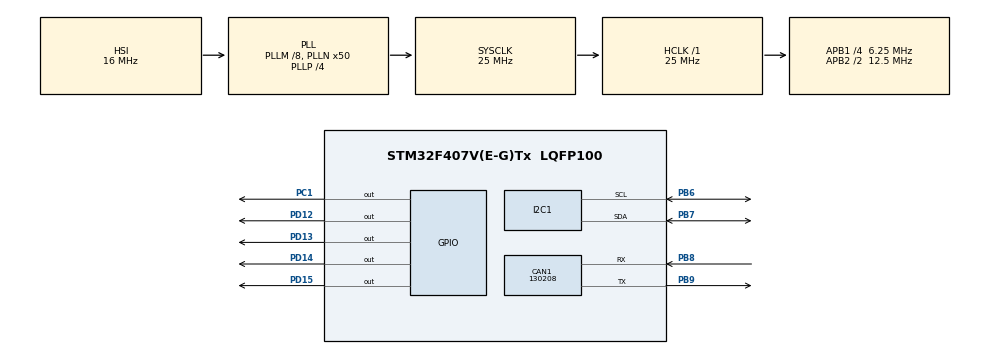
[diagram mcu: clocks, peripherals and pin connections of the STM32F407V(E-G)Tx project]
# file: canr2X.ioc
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CAN1.CalculateBaudRate=130208
CAN1.CalculateTimeBit=7680
CAN1.CalculateTimeQuantum=2560.0
Mcu.Family=STM32F4
Mcu.Name=STM32F407V(E-G)Tx
Mcu.Package=LQFP100
NVIC.PriorityGroup=NVIC_PRIORITYGROUP_0
PB6.Mode=I2C
PB6.Signal=I2C1_SCL
PB7.Mode=I2C
PB7.Signal=I2C1_SDA
PB8.Mode=CAN_Activate
PB8.Signal=CAN1_RX
PB9.Mode=CAN_Activate
PB9.Signal=CAN1_TX
PC1.Signal=GPIO_Output
PD12.Signal=GPIO_Output
PD13.Signal=GPIO_Output
PD14.Signal=GPIO_Output
PD15.Signal=GPIO_Output
ProjectManager.HeapSize=0x200
ProjectManager.StackSize=0x400
ProjectManager.TargetToolchain=STM32CubeIDE
RCC.48MHZClocksFreq_Value=14285714.285714285
RCC.AHBFreq_Value=25000000
RCC.APB1CLKDivider=RCC_HCLK_DIV4
RCC.APB1Freq_Value=6250000
RCC.APB1TimFreq_Value=12500000
RCC.APB2CLKDivider=RCC_HCLK_DIV2
RCC.APB2Freq_Value=12500000
RCC.APB2TimFreq_Value=25000000
RCC.CortexFreq_Value=25000000
RCC.HCLKFreq_Value=25000000
RCC.HSE_VALUE=8000000
RCC.HSI_VALUE=16000000
RCC.LSE_VALUE=32768
RCC.PLLM=8
RCC.PLLN=50
RCC.PLLP=RCC_PLLP_DIV4
RCC.PLLQ=7
RCC.SYSCLKFreq_VALUE=25000000
RCC.SYSCLKSource=RCC_SYSCLKSOURCE_PLLCLK
RCC.VCOOutputFreq_Value=100000000
board=STM32F407G-DISC1

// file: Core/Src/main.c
/* USER CODE BEGIN Header */
/**
  ******************************************************************************
  * @file           : main.c
  * @brief          : Main program body
  ******************************************************************************
  * @attention
  *
  * Copyright (c) 2024 STMicroelectronics.
  * All rights reserved.
  *
  * This software is licensed under terms that can be found in the LICENSE file
  * in the root directory of this software component.
  * If no LICENSE file comes with this software, it is provided AS-IS.
  *
  ******************************************************************************
  */
/* USER CODE END Header */
#include "main.h"

CAN_HandleTypeDef hcan1;

I2C_HandleTypeDef hi2c1;

void SystemClock_Config(void);
static void MX_GPIO_Init(void);
static void MX_CAN1_Init(void);
static void MX_I2C1_Init(void);

/* USER CODE BEGIN 0 */
CAN_RxHeaderTypeDef RxHeader;
uint8_t RxData[5];

/* USER CODE END 0 */

int main(void)
{

  /* MCU Configuration--------------------------------------------------------*/

  /* Reset of all peripherals, Initializes the Flash interface and the Systick. */
  HAL_Init();

  /* Configure the system clock */
  SystemClock_Config();

  /* Initialize all configured peripherals */
  MX_GPIO_Init();
  MX_CAN1_Init();
  MX_I2C1_Init();
  /* USER CODE BEGIN 2 */
  HAL_CAN_Start(&hcan1);
    HAL_CAN_ActivateNotification(&hcan1, CAN_IT_RX_FIFO0_MSG_PENDING);
    HAL_Delay(100);
    HAL_Delay(100);
    lcd_init();

  /* USER CODE END 2 */

  /* Infinite loop */
  while (1)
  {

    /* USER CODE BEGIN 3 */
	  if(RxData[0] == 'F'){
	  		  		  HAL_GPIO_WritePin(GPIOD, GPIO_PIN_12, GPIO_PIN_SET);
	  		  		  HAL_GPIO_WritePin(GPIOC, GPIO_PIN_1, GPIO_PIN_SET);
	  	//	  		  HAL_Delay(100);
	  	//	  		  HAL_GPIO_WritePin(GPIOD, GPIO_PIN_12, GPIO_PIN_RESET);

	  		  	  }
	  		  	if(RxData[0] == 'N'){
	  		  		  		  HAL_GPIO_WritePin(GPIOD, GPIO_PIN_12, GPIO_PIN_RESET);
	  		  		      	  HAL_GPIO_WritePin(GPIOC, GPIO_PIN_1, GPIO_PIN_SET);
	  		  	//	  		  HAL_Delay(100);
	  		  	//	  		  HAL_GPIO_WritePin(GPIOD, GPIO_PIN_12, GPIO_PIN_RESET);

	  		  	}

	  		  	  if(RxData[1] == 'G'){
	  		  		  HAL_GPIO_WritePin(GPIOD, GPIO_PIN_13, GPIO_PIN_SET);
	  		  		  HAL_GPIO_WritePin(GPIOC, GPIO_PIN_1, GPIO_PIN_SET);
	  	//	  		  HAL_Delay(100);
	  	//	  		  HAL_GPIO_WritePin(GPIOD, GPIO_PIN_13, GPIO_PIN_RESET);
	  		  	  }
	  		  	if(RxData[1] == 'N'){
	  		  		  		  		  HAL_GPIO_WritePin(GPIOD, GPIO_PIN_13, GPIO_PIN_RESET);	//yellow
	  		  		  		  		  HAL_GPIO_WritePin(GPIOC, GPIO_PIN_1, GPIO_PIN_SET);
	  		  		  	//	  		  HAL_GPIO_WritePin(GPIOD, GPIO_PIN_12, GPIO_PIN_RESET);

	  		  		  	}

	  		  	  if(RxData[2] == 'T'){
	  		  		  HAL_GPIO_WritePin(GPIOD, GPIO_PIN_14, GPIO_PIN_SET);	//red
	  		  		  HAL_GPIO_WritePin(GPIOC, GPIO_PIN_1, GPIO_PIN_SET);
	  	//	  		  HAL_GPIO_WritePin(GPIOD, GPIO_PIN_14, GPIO_PIN_RESET);

	  		  	  }

	  		  	if(RxData[2] == 'N'){
	  		  		  		  		  HAL_GPIO_WritePin(GPIOD, GPIO_PIN_14, GPIO_PIN_RESET);	//yellow
	  		  		  	 		       HAL_GPIO_WritePin(GPIOC, GPIO_PIN_1, GPIO_PIN_SET);
	  		  		  	//	  		  HAL_GPIO_WritePin(GPIOD, GPIO_PIN_12, GPIO_PIN_RESET);

	  		  		  	}

  }
  /* USER CODE END 3 */
}

void SystemClock_Config(void)
{
  RCC_OscInitTypeDef RCC_OscInitStruct = {0};
  RCC_ClkInitTypeDef RCC_ClkInitStruct = {0};

  /** Configure the main internal regulator output voltage
  */
  __HAL_RCC_PWR_CLK_ENABLE();
  __HAL_PWR_VOLTAGESCALING_CONFIG(PWR_REGULATOR_VOLTAGE_SCALE1);

  /** Initializes the RCC Oscillators according to the specified parameters
  * in the RCC_OscInitTypeDef structure.
  */
  RCC_OscInitStruct.OscillatorType = RCC_OSCILLATORTYPE_HSI;
  RCC_OscInitStruct.HSIState = RCC_HSI_ON;
  RCC_OscInitStruct.HSICalibrationValue = RCC_HSICALIBRATION_DEFAULT;
  RCC_OscInitStruct.PLL.PLLState = RCC_PLL_ON;
  RCC_OscInitStruct.PLL.PLLSource = RCC_PLLSOURCE_HSI;
  RCC_OscInitStruct.PLL.PLLM = 8;
  RCC_OscInitStruct.PLL.PLLN = 50;
  RCC_OscInitStruct.PLL.PLLP = RCC_PLLP_DIV4;
  RCC_OscInitStruct.PLL.PLLQ = 7;
  if (HAL_RCC_OscConfig(&RCC_OscInitStruct) != HAL_OK)
  {
    Error_Handler();
  }

  /** Initializes the CPU, AHB and APB buses clocks
  */
  RCC_ClkInitStruct.ClockType = RCC_CLOCKTYPE_HCLK|RCC_CLOCKTYPE_SYSCLK
                              |RCC_CLOCKTYPE_PCLK1|RCC_CLOCKTYPE_PCLK2;
  RCC_ClkInitStruct.SYSCLKSource = RCC_SYSCLKSOURCE_PLLCLK;
  RCC_ClkInitStruct.AHBCLKDivider = RCC_SYSCLK_DIV1;
  RCC_ClkInitStruct.APB1CLKDivider = RCC_HCLK_DIV4;
  RCC_ClkInitStruct.APB2CLKDivider = RCC_HCLK_DIV2;

  if (HAL_RCC_ClockConfig(&RCC_ClkInitStruct, FLASH_LATENCY_0) != HAL_OK)
  {
    Error_Handler();
  }
}

static void MX_CAN1_Init(void)
{

  hcan1.Instance = CAN1;
  hcan1.Init.Prescaler = 16;
  hcan1.Init.Mode = CAN_MODE_NORMAL;
  hcan1.Init.SyncJumpWidth = CAN_SJW_1TQ;
  hcan1.Init.TimeSeg1 = CAN_BS1_1TQ;
  hcan1.Init.TimeSeg2 = CAN_BS2_1TQ;
  hcan1.Init.TimeTriggeredMode = DISABLE;
  hcan1.Init.AutoBusOff = DISABLE;
  hcan1.Init.AutoWakeUp = DISABLE;
  hcan1.Init.AutoRetransmission = DISABLE;
  hcan1.Init.ReceiveFifoLocked = DISABLE;
  hcan1.Init.TransmitFifoPriority = DISABLE;
  if (HAL_CAN_Init(&hcan1) != HAL_OK)
  {
    Error_Handler();
  }

}

static void MX_I2C1_Init(void)
{

  hi2c1.Instance = I2C1;
  hi2c1.Init.ClockSpeed = 100000;
  hi2c1.Init.DutyCycle = I2C_DUTYCYCLE_2;
  hi2c1.Init.OwnAddress1 = 0;
  hi2c1.Init.AddressingMode = I2C_ADDRESSINGMODE_7BIT;
  hi2c1.Init.DualAddressMode = I2C_DUALADDRESS_DISABLE;
  hi2c1.Init.OwnAddress2 = 0;
  hi2c1.Init.GeneralCallMode = I2C_GENERALCALL_DISABLE;
  hi2c1.Init.NoStretchMode = I2C_NOSTRETCH_DISABLE;
  if (HAL_I2C_Init(&hi2c1) != HAL_OK)
  {
    Error_Handler();
  }

}

static void MX_GPIO_Init(void)
{
  GPIO_InitTypeDef GPIO_InitStruct = {0};

  /* GPIO Ports Clock Enable */
  __HAL_RCC_GPIOC_CLK_ENABLE();
  __HAL_RCC_GPIOD_CLK_ENABLE();
  __HAL_RCC_GPIOB_CLK_ENABLE();

  /*Configure GPIO pin Output Level */
  HAL_GPIO_WritePin(GPIOC, GPIO_PIN_1, GPIO_PIN_RESET);

  /*Configure GPIO pin Output Level */
  HAL_GPIO_WritePin(GPIOD, GPIO_PIN_12|GPIO_PIN_13|GPIO_PIN_14|GPIO_PIN_15, GPIO_PIN_RESET);

  /*Configure GPIO pin : PC1 */
  GPIO_InitStruct.Pin = GPIO_PIN_1;
  GPIO_InitStruct.Mode = GPIO_MODE_OUTPUT_PP;
  GPIO_InitStruct.Pull = GPIO_NOPULL;
  GPIO_InitStruct.Speed = GPIO_SPEED_FREQ_LOW;
  HAL_GPIO_Init(GPIOC, &GPIO_InitStruct);

  /*Configure GPIO pins : PD12 PD13 PD14 PD15 */
  GPIO_InitStruct.Pin = GPIO_PIN_12|GPIO_PIN_13|GPIO_PIN_14|GPIO_PIN_15;
  GPIO_InitStruct.Mode = GPIO_MODE_OUTPUT_PP;
  GPIO_InitStruct.Pull = GPIO_NOPULL;
  GPIO_InitStruct.Speed = GPIO_SPEED_FREQ_LOW;
  HAL_GPIO_Init(GPIOD, &GPIO_InitStruct);

}

void Error_Handler(void)
{
  __disable_irq();
  while (1)
  {
  }
}
